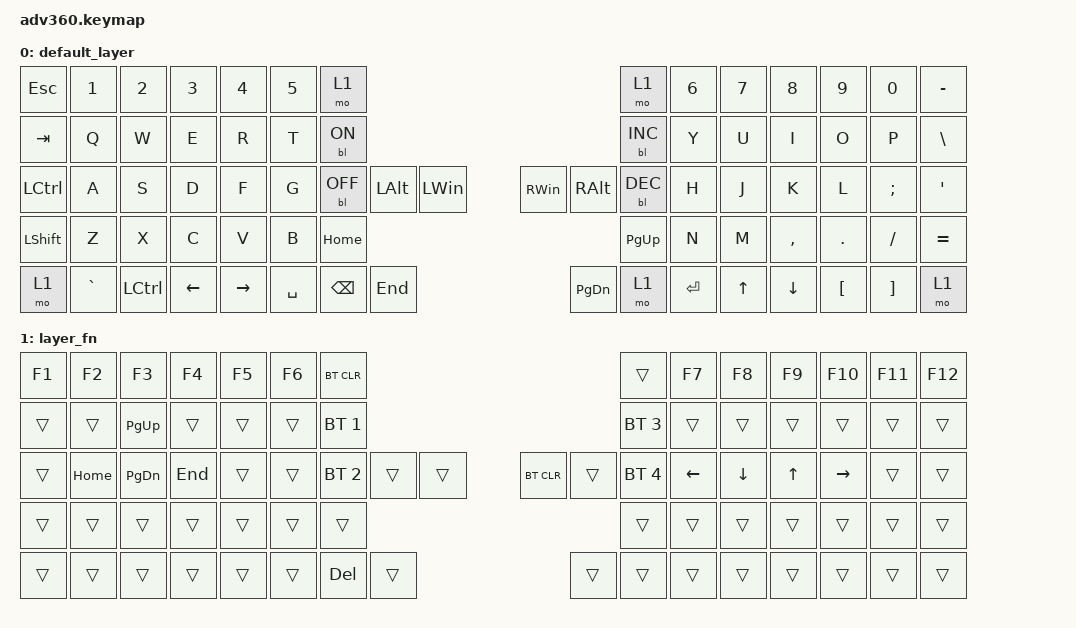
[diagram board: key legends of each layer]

/*
 * Copyright (c) 2020 The ZMK Contributors
 *
 * SPDX-License-Identifier: MIT
 */


/* THIS FILE WAS GENERATED!
 *
 * This file was generated automatically. You may or may not want to
 * edit it directly.
 */

#include <behaviors.dtsi>
#include <dt-bindings/zmk/keys.h>
#include <dt-bindings/zmk/backlight.h>
#include <dt-bindings/zmk/bt.h>

/ {
  behaviors {
    #include "macros.dtsi"

    hm: homerow_mods {
        compatible = "zmk,behavior-hold-tap";
        label = "HOMEROW_MODS";
        #binding-cells = <2>;
        tapping-term-ms = <200>;
        quick_tap_ms = <175>;
        flavor = "tap-preferred";
        bindings = <&kp>, <&kp>;
    };
  };

    keymap {
        compatible = "zmk,keymap";


        default_layer {
            bindings = <
 &kp ESCAPE     &kp N1     &kp N2    &kp N3     &kp N4  &kp N5                 &mo 1                                                                                  &mo 1  &kp N6  &kp N7     &kp N8    &kp N9    &kp N0  &kp MINUS
    &kp TAB      &kp Q      &kp W     &kp E      &kp R   &kp T             &bl BL_ON                                                                             &bl BL_INC   &kp Y   &kp U      &kp I     &kp O     &kp P   &kp BSLH
  &kp LCTRL      &kp A      &kp S     &kp D      &kp F   &kp G            &bl BL_OFF   &kp LEFT_ALT  &kp LEFT_WIN                  &kp RIGHT_WIN  &kp RIGHT_ALT  &bl BL_DEC   &kp H   &kp J      &kp K     &kp L  &kp SEMI    &kp SQT
  &kp LSHFT      &kp Z      &kp X     &kp C      &kp V   &kp B                                           &kp HOME                      &kp PG_UP                              &kp N   &kp M  &kp COMMA   &kp DOT  &kp FSLH  &kp EQUAL
      &mo 1  &kp GRAVE  &kp LCTRL  &kp LEFT  &kp RIGHT                     &kp SPACE  &kp BACKSPACE       &kp END                      &kp PG_DN          &mo 1   &kp ENTER          &kp UP   &kp DOWN  &kp LBKT  &kp RBKT      &mo 1
            >;
        };

        layer_fn {
            bindings = <
 &kp F1    &kp F2         &kp F3   &kp F4  &kp F5  &kp F6              &bt BT_CLR                                                                &trans    &kp F7    &kp F8  &kp F9    &kp F10  &kp F11  &kp F12
 &trans    &trans    &kp PAGE_UP   &trans  &trans  &trans            &bt BT_SEL 1                                                          &bt BT_SEL 3    &trans    &trans  &trans     &trans   &trans   &trans
 &trans  &kp HOME  &kp PAGE_DOWN  &kp END  &trans  &trans            &bt BT_SEL 2      &trans  &trans                  &bt BT_CLR  &trans  &bt BT_SEL 4  &kp LEFT  &kp DOWN  &kp UP  &kp RIGHT   &trans   &trans
 &trans    &trans         &trans   &trans  &trans  &trans                                      &trans                      &trans                          &trans    &trans  &trans     &trans   &trans   &trans
 &trans    &trans         &trans   &trans  &trans                          &trans  &kp DELETE  &trans                      &trans  &trans        &trans              &trans  &trans     &trans   &trans   &trans
            >;
        };

    };
};
